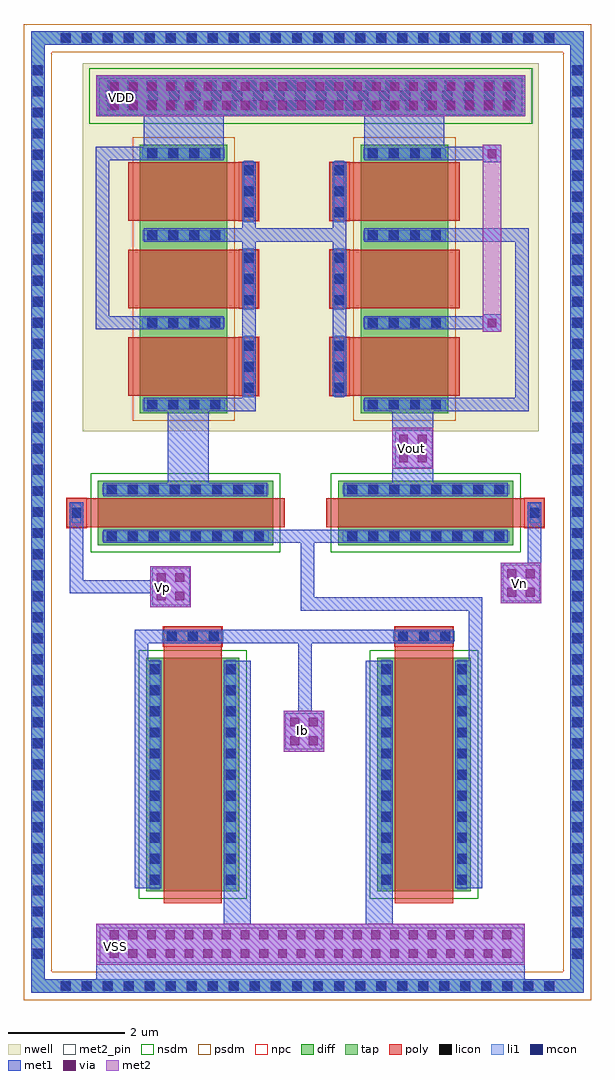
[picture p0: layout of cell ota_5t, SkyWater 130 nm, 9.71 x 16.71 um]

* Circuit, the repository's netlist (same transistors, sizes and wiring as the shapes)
* NGSPICE file created from ota_5t.ext - technology: sky130A

.subckt ota_5t Ib Vn Vp Vout VDD VSS
X0 VDD a_2521_2520# a_2521_2520# VDD sky130_fd_pr__pfet_01v8 ad=0.375 pd=2 as=0.45 ps=3.6 w=1.5 l=1
X1 a_2521_2520# Vp a_2521_2360# VSS sky130_fd_pr__nfet_01v8 ad=0.9 pd=6.6 as=0.9 ps=6.6 w=3 l=0.5
X2 a_2521_2520# a_2521_2520# VDD VDD sky130_fd_pr__pfet_01v8 ad=0.375 pd=2 as=0.375 ps=2 w=1.5 l=1
X3 Vout Vn a_2521_2360# VSS sky130_fd_pr__nfet_01v8 ad=0.9 pd=6.6 as=0.9 ps=6.6 w=3 l=0.5
X4 VDD a_2521_2520# a_2521_2520# VDD sky130_fd_pr__pfet_01v8 ad=0.45 pd=3.6 as=0.375 ps=2 w=1.5 l=1
X5 VSS Ib Ib VSS sky130_fd_pr__nfet_01v8 ad=1.2 pd=8.6 as=1.2 ps=8.6 w=4 l=1
X6 VDD a_2521_2520# Vout VDD sky130_fd_pr__pfet_01v8 ad=0.375 pd=2 as=0.45 ps=3.6 w=1.5 l=1
X7 a_2521_2360# Ib VSS VSS sky130_fd_pr__nfet_01v8 ad=1.2 pd=8.6 as=1.2 ps=8.6 w=4 l=1
X8 Vout a_2521_2520# VDD VDD sky130_fd_pr__pfet_01v8 ad=0.375 pd=2 as=0.375 ps=2 w=1.5 l=1
X9 VDD a_2521_2520# Vout VDD sky130_fd_pr__pfet_01v8 ad=0.45 pd=3.6 as=0.375 ps=2 w=1.5 l=1
.ends

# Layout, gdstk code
import gdstk
lib = gdstk.Library(unit=1e-6, precision=1e-09)
def R(c, l, rs):  # rectangles x0, y0, x1, y1
    for r in rs: c.add(gdstk.rectangle(r[:2], r[2:], *l))
def A(c, l, x, y, w, h, nx, ny, dx, dy):  # array of equal rectangles
    R(c, l, [(x+i*dx, y+j*dy, x+i*dx+w, y+j*dy+h) for i in range(nx) for j in range(ny)])
def P(c, l, *ps):  # polygons
    for p in ps: c.add(gdstk.Polygon(p, *l))
nwell = (64, 20)
diff = (65, 20)
tap = (65, 44)
poly = (66, 20)
licon = (66, 44)
li1 = (67, 20)
mcon = (67, 44)
met1 = (68, 20)
via = (68, 44)
met2_pin = (69, 16)
met2 = (69, 20)
nsdm = (93, 44)
psdm = (94, 20)
npc = (95, 20)

ota_5t = lib.new_cell('ota_5t')
R(ota_5t, nwell, [(12.35,13.75,20.15,20.05), (12.455,13.75,20.045,19.965), (12.945,13.75,15.545,18.96), (12.945,13.75,20.045,19.965), (15.545,13.75,16.385,18.96), (16.385,13.75,18.985,18.96)])
R(ota_5t, diff, [(13.43,5.87,15.03,9.87), (17.39,5.87,18.99,9.87), (12.605,11.8,15.605,12.9), (16.72,11.8,19.72,12.9), (13.325,14.055,14.825,18.655), (17.105,14.055,18.605,18.655), (12.58,19.14,19.92,19.84)])
P(ota_5t, tap, [(11.465,4.135),(11.465,20.365),(11.695,20.365),(11.695,4.365),(20.695,4.365),(20.695,20.365),(11.465,20.365),(11.465,20.595),(20.925,20.595),(20.925,4.135)])
A(ota_5t, poly, 13.125, 14.355, 1.9, 1, 1, 3, 0, 1.5)
A(ota_5t, poly, 15.025, 14.355, 0.33, 1, 1, 3, 0, 1.5)
A(ota_5t, poly, 16.575, 14.355, 0.33, 1, 1, 3, 0, 1.5)
A(ota_5t, poly, 16.905, 14.355, 1.9, 1, 1, 3, 0, 1.5)
R(ota_5t, poly, [(13.73,5.67,14.73,10.07), (17.69,5.67,18.69,10.07), (13.73,10.07,14.73,10.4), (17.69,10.07,18.69,10.4), (12.075,12.1,12.405,12.6), (12.405,12.1,15.805,12.6), (16.52,12.1,19.92,12.6), (19.92,12.1,20.25,12.6)])
A(ota_5t, licon, 11.97, 4.165, 0.17, 0.17, 24, 2, 0.36, 16.23)
A(ota_5t, licon, 11.495, 4.72, 0.17, 0.17, 1, 43, 0, 0.36)
A(ota_5t, licon, 20.725, 4.72, 0.17, 0.17, 1, 43, 0, 0.36)
A(ota_5t, licon, 13.495, 5.985, 0.17, 0.17, 1, 11, 0, 0.36)
A(ota_5t, licon, 14.795, 5.985, 0.17, 0.17, 1, 11, 0, 0.36)
A(ota_5t, licon, 17.455, 5.985, 0.17, 0.17, 1, 11, 0, 0.36)
A(ota_5t, licon, 18.755, 5.985, 0.17, 0.17, 1, 11, 0, 0.36)
A(ota_5t, licon, 13.785, 10.15, 0.17, 0.17, 3, 1, 0.36, 0)
A(ota_5t, licon, 17.745, 10.15, 0.17, 0.17, 3, 1, 0.36, 0)
A(ota_5t, licon, 12.76, 11.865, 0.17, 0.17, 8, 2, 0.36, 0.8)
A(ota_5t, licon, 16.875, 11.865, 0.17, 0.17, 8, 2, 0.36, 0.8)
A(ota_5t, licon, 13.45, 14.12, 0.17, 0.17, 4, 2, 0.36, 1.4)
A(ota_5t, licon, 17.23, 14.12, 0.17, 0.17, 4, 2, 0.36, 1.4)
A(ota_5t, licon, 15.105, 14.41, 0.17, 0.17, 1, 3, 0, 0.36)
A(ota_5t, licon, 16.655, 14.41, 0.17, 0.17, 1, 3, 0, 0.36)
A(ota_5t, licon, 15.105, 15.91, 0.17, 0.17, 1, 3, 0, 0.36)
A(ota_5t, licon, 16.655, 15.91, 0.17, 0.17, 1, 3, 0, 0.36)
A(ota_5t, licon, 13.45, 17.02, 0.17, 0.17, 4, 2, 0.36, 1.4)
A(ota_5t, licon, 17.23, 17.02, 0.17, 0.17, 4, 2, 0.36, 1.4)
A(ota_5t, licon, 15.105, 17.41, 0.17, 0.17, 1, 3, 0, 0.36)
A(ota_5t, licon, 16.655, 17.41, 0.17, 0.17, 1, 3, 0, 0.36)
A(ota_5t, licon, 12.765, 19.235, 0.17, 0.17, 21, 2, 0.34, 0.34)
R(ota_5t, licon, [(12.155,12.265,12.325,12.435), (20,12.265,20.17,12.435)])
A(ota_5t, li1, 15.105, 14.33, 0.17, 1.05, 1, 3, 0, 1.5)
A(ota_5t, li1, 16.655, 14.33, 0.17, 1.05, 1, 3, 0, 1.5)
R(ota_5t, li1, [(13.495,5.905,13.665,9.835), (14.795,5.905,14.965,9.835), (17.455,5.905,17.625,9.835), (18.755,5.905,18.925,9.835), (13.705,10.15,14.755,10.32), (17.665,10.15,18.715,10.32), (12.68,11.865,15.53,12.035), (16.795,11.865,19.645,12.035), (12.155,12.185,12.325,12.515), (20,12.185,20.17,12.515), (12.68,12.665,15.53,12.835), (16.795,12.665,19.645,12.835), (13.37,14.12,14.78,14.29), (17.15,14.12,18.56,14.29), (13.37,15.52,14.78,15.69), (17.15,15.52,18.56,15.69), (13.37,17.02,14.78,17.19), (17.15,17.02,18.56,17.19), (13.37,18.42,14.78,18.59), (17.15,18.42,18.56,18.59), (12.58,19.14,19.92,19.84)])
P(ota_5t, li1, [(11.465,4.135),(11.465,20.365),(11.695,20.365),(11.695,4.365),(20.695,4.365),(20.695,20.365),(11.465,20.365),(11.465,20.595),(20.925,20.595),(20.925,4.135)])
A(ota_5t, mcon, 11.97, 4.165, 0.17, 0.17, 24, 2, 0.36, 16.23)
A(ota_5t, mcon, 11.495, 4.72, 0.17, 0.17, 1, 43, 0, 0.36)
A(ota_5t, mcon, 20.725, 4.72, 0.17, 0.17, 1, 43, 0, 0.36)
A(ota_5t, mcon, 13.495, 5.985, 0.17, 0.17, 1, 11, 0, 0.36)
A(ota_5t, mcon, 14.795, 5.985, 0.17, 0.17, 1, 11, 0, 0.36)
A(ota_5t, mcon, 17.455, 5.985, 0.17, 0.17, 1, 11, 0, 0.36)
A(ota_5t, mcon, 18.755, 5.985, 0.17, 0.17, 1, 11, 0, 0.36)
A(ota_5t, mcon, 13.785, 10.15, 0.17, 0.17, 3, 1, 0.36, 0)
A(ota_5t, mcon, 17.745, 10.15, 0.17, 0.17, 3, 1, 0.36, 0)
A(ota_5t, mcon, 12.76, 11.865, 0.17, 0.17, 8, 2, 0.36, 0.8)
A(ota_5t, mcon, 16.875, 11.865, 0.17, 0.17, 8, 2, 0.36, 0.8)
A(ota_5t, mcon, 13.45, 14.12, 0.17, 0.17, 4, 2, 0.36, 1.4)
A(ota_5t, mcon, 17.23, 14.12, 0.17, 0.17, 4, 2, 0.36, 1.4)
A(ota_5t, mcon, 15.105, 14.41, 0.17, 0.17, 1, 3, 0, 0.36)
A(ota_5t, mcon, 16.655, 14.41, 0.17, 0.17, 1, 3, 0, 0.36)
A(ota_5t, mcon, 15.105, 15.91, 0.17, 0.17, 1, 3, 0, 0.36)
A(ota_5t, mcon, 16.655, 15.91, 0.17, 0.17, 1, 3, 0, 0.36)
A(ota_5t, mcon, 13.45, 17.02, 0.17, 0.17, 4, 2, 0.36, 1.4)
A(ota_5t, mcon, 17.23, 17.02, 0.17, 0.17, 4, 2, 0.36, 1.4)
A(ota_5t, mcon, 15.105, 17.41, 0.17, 0.17, 1, 3, 0, 0.36)
A(ota_5t, mcon, 16.655, 17.41, 0.17, 0.17, 1, 3, 0, 0.36)
A(ota_5t, mcon, 12.745, 19.405, 0.17, 0.17, 20, 1, 0.36, 0)
R(ota_5t, mcon, [(12.155,12.265,12.325,12.435), (20,12.265,20.17,12.435)])
A(ota_5t, met1, 15.075, 14.35, 0.23, 1.01, 1, 3, 0, 1.5)
A(ota_5t, met1, 16.625, 14.35, 0.23, 1.01, 1, 3, 0, 1.5)
R(ota_5t, met1, [(12.575,4.365,19.915,4.615), (12.575,4.615,19.915,5.315), (14.765,5.315,15.225,9.815), (17.195,5.315,17.655,9.815), (13.465,5.925,13.695,9.815), (14.765,5.925,14.995,9.815), (17.425,5.925,17.655,9.815), (18.725,5.925,18.955,9.815), (15.785,8.26,16.485,8.96), (13.725,10.12,14.735,10.35), (17.685,10.12,18.695,10.35), (13.5,10.735,14.2,11.435), (19.5,10.8,20.2,11.5), (19.97,11.5,20.2,12.165), (12.7,11.835,15.51,12.065), (16.815,11.835,19.625,12.065), (12.125,12.165,12.355,12.535), (19.97,12.165,20.2,12.535), (12.7,12.635,15.51,12.865), (16.815,12.635,19.625,12.865), (13.805,12.865,14.505,14.09), (17.65,12.865,18.35,13.105), (17.65,13.105,18.35,13.805), (17.65,13.805,18.35,14.09), (13.39,14.09,14.76,14.32), (17.17,14.09,18.54,14.32), (15.075,15.36,15.305,15.85), (16.625,15.36,16.855,15.85), (19.195,15.45,19.515,15.75), (13.39,15.49,14.76,15.72), (17.17,15.49,18.54,15.72), (18.54,15.49,19.195,15.72), (13.39,16.99,14.76,17.22), (17.17,16.99,18.54,17.22), (19.195,18.35,19.515,18.65), (13.39,18.39,14.76,18.62), (17.17,18.39,18.54,18.62), (18.54,18.39,19.195,18.62), (13.39,18.62,14.76,19.79), (17.17,18.62,18.54,19.79), (12.58,19.14,19.92,19.84)])
P(ota_5t, met1, [(11.465,4.135),(11.465,20.365),(11.695,20.365),(11.695,4.365),(20.695,4.365),(20.695,20.365),(11.465,20.365),(11.465,20.595),(20.925,20.595),(20.925,4.135)],
  [(18.725,5.925),(18.725,9.815),(18.955,9.815),(18.955,10.675),(16.08,10.675),(16.08,11.835),(15.51,11.835),(15.51,12.065),(16.815,12.065),(16.815,11.835),(16.31,11.835),(16.31,10.905),(19.185,10.905),(19.185,5.925)],
  [(12.125,10.97),(12.125,12.315),(12.355,12.315),(12.355,11.2),(13.5,11.2),(13.5,10.97)],
  [(13.235,5.925),(13.235,10.35),(18.695,10.35),(18.695,10.12),(16.265,10.12),(16.265,8.78),(16.035,8.78),(16.035,10.12),(13.465,10.12),(13.465,5.925)],
  [(18.54,14.09),(18.54,14.32),(19.75,14.32),(19.75,16.99),(18.54,16.99),(18.54,17.22),(19.98,17.22),(19.98,14.09)],
  [(12.57,15.49),(12.57,18.62),(13.39,18.62),(13.39,18.39),(12.8,18.39),(12.8,15.72),(13.39,15.72),(13.39,15.49)],
  [(14.76,14.09),(14.76,14.32),(15.075,14.32),(15.075,14.35),(15.305,14.35),(15.305,14.09)],
  [(15.075,16.86),(15.075,16.99),(14.76,16.99),(14.76,17.22),(15.075,17.22),(15.075,17.35),(15.305,17.35),(15.305,17.22),(16.625,17.22),(16.625,17.35),(16.855,17.35),(16.855,16.86),(16.625,16.86),(16.625,16.99),(15.305,16.99),(15.305,16.86)])
A(ota_5t, via, 12.81, 4.73, 0.15, 0.15, 22, 2, 0.32, 0.32)
A(ota_5t, via, 12.815, 19.255, 0.15, 0.15, 22, 2, 0.32, 0.32)
R(ota_5t, via, [(15.9,8.375,16.05,8.525), (16.22,8.375,16.37,8.525), (15.9,8.695,16.05,8.845), (16.22,8.695,16.37,8.845), (13.615,10.85,13.765,11), (13.935,10.85,14.085,11), (19.615,10.915,19.765,11.065), (19.935,10.915,20.085,11.065), (13.615,11.17,13.765,11.32), (13.935,11.17,14.085,11.32), (19.615,11.235,19.765,11.385), (19.935,11.235,20.085,11.385), (17.765,13.22,17.915,13.37), (18.085,13.22,18.235,13.37), (17.765,13.54,17.915,13.69), (18.085,13.54,18.235,13.69), (19.28,15.525,19.43,15.675), (19.28,18.425,19.43,18.575)])
R(ota_5t, met2_pin, [(12.635,4.65,19.885,5.25), (15.815,8.305,16.45,8.92), (13.535,10.765,14.18,11.41), (19.54,10.835,20.17,11.465), (17.695,13.125,18.335,13.77), (12.63,19.17,19.87,19.79)])
R(ota_5t, met2, [(12.575,4.615,19.915,5.315), (15.785,8.26,16.485,8.96), (13.5,10.735,14.2,11.435), (19.5,10.8,20.2,11.5), (17.65,13.105,18.35,13.805), (19.195,15.45,19.515,15.75), (19.195,15.75,19.515,18.35), (19.195,18.35,19.515,18.65), (12.58,19.14,19.92,19.84)])
R(ota_5t, nsdm, [(13.305,5.745,15.155,9.995), (17.265,5.745,19.115,9.995), (12.48,11.675,15.73,13.025), (16.595,11.675,19.845,13.025), (12.455,19.015,20.045,19.965)])
R(ota_5t, psdm, [(13.2,13.93,14.95,18.78), (16.98,13.93,18.73,18.78)])
P(ota_5t, psdm, [(11.34,4.01),(11.34,20.24),(11.82,20.24),(11.82,4.49),(20.57,4.49),(20.57,20.24),(11.34,20.24),(11.34,20.72),(21.05,20.72),(21.05,4.01)])
A(ota_5t, npc, 15.015, 14.345, 0.35, 1.02, 1, 3, 0, 1.5)
A(ota_5t, npc, 16.565, 14.345, 0.35, 1.02, 1, 3, 0, 1.5)
R(ota_5t, npc, [(13.72,10.06,14.74,10.41), (17.68,10.06,18.7,10.41), (12.065,12.09,12.415,12.61), (19.91,12.09,20.26,12.61)])
ota_5t.add(gdstk.Label('Vp', (13.715,11.075), layer=69, texttype=5))
ota_5t.add(gdstk.Label('Vn', (19.825,11.14), layer=69, texttype=5))
ota_5t.add(gdstk.Label('VSS', (12.91,4.92), layer=69, texttype=5))
ota_5t.add(gdstk.Label('VDD', (13.01,19.47), layer=69, texttype=5))
ota_5t.add(gdstk.Label('Vout', (17.975,13.445), layer=69, texttype=5))
ota_5t.add(gdstk.Label('Ib', (16.105,8.62), layer=69, texttype=5))

lib.write_gds('ota_5t.gds')
